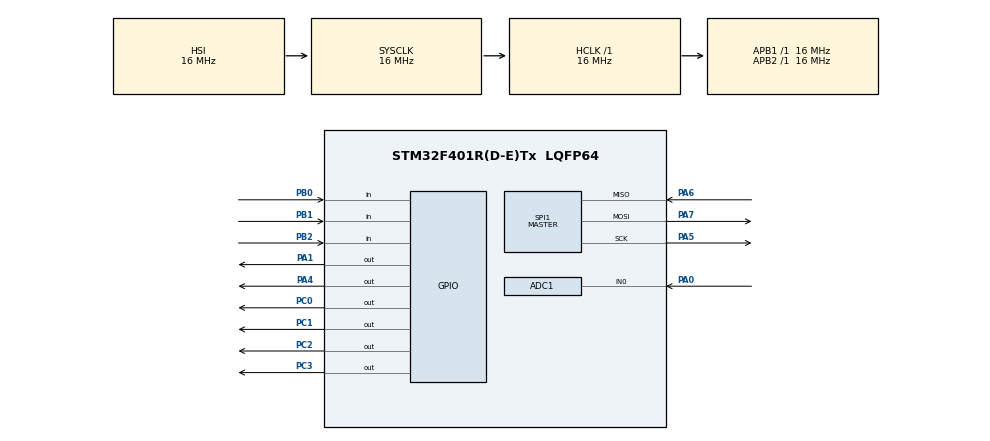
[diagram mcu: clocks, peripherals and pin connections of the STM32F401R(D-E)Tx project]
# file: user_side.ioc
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ADC1.Channel-0\#ChannelRegularConversion=ADC_CHANNEL_0
ADC1.NbrOfConversionFlag=1
ADC1.Rank-0\#ChannelRegularConversion=1
ADC1.SamplingTime-0\#ChannelRegularConversion=ADC_SAMPLETIME_3CYCLES
ADC1.master=1
Mcu.Family=STM32F4
Mcu.Name=STM32F401R(D-E)Tx
Mcu.Package=LQFP64
NVIC.PriorityGroup=NVIC_PRIORITYGROUP_4
PA0-WKUP.Signal=ADCx_IN0
PA1.Signal=GPIO_Output
PA4.Signal=GPIO_Output
PA5.Mode=Full_Duplex_Master
PA5.Signal=SPI1_SCK
PA6.Mode=Full_Duplex_Master
PA6.Signal=SPI1_MISO
PA7.Mode=Full_Duplex_Master
PA7.Signal=SPI1_MOSI
PB0.GPIO_PuPd=GPIO_PULLUP
PB0.Signal=GPIO_Input
PB1.GPIO_PuPd=GPIO_PULLUP
PB1.Signal=GPIO_Input
PB2.GPIO_PuPd=GPIO_PULLUP
PB2.Signal=GPIO_Input
PC0.Signal=GPIO_Output
PC1.Signal=GPIO_Output
PC2.Signal=GPIO_Output
PC3.Signal=GPIO_Output
ProjectManager.HeapSize=0x200
ProjectManager.StackSize=0x400
ProjectManager.TargetToolchain=MDK-ARM V5.32
RCC.AHBFreq_Value=16000000
RCC.APB1Freq_Value=16000000
RCC.APB2Freq_Value=16000000
RCC.CortexFreq_Value=16000000
RCC.HSE_VALUE=25000000
RCC.HSI_VALUE=16000000
RCC.LSE_VALUE=32768
RCC.SYSCLKFreq_VALUE=16000000
RCC.VCOOutputFreq_Value=192000000
SH.ADCx_IN0.0=ADC1_IN0,IN0
SPI1.DataSize=SPI_DATASIZE_8BIT
SPI1.Direction=SPI_DIRECTION_2LINES
SPI1.Mode=SPI_MODE_MASTER
SPI1.VirtualType=VM_MASTER
board=custom

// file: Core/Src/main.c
/* USER CODE BEGIN Header */
/**
  ******************************************************************************
  * @file           : main.c
  * @brief          : Main program body
  ******************************************************************************
  * @attention
  *
  * Copyright (c) 2023 STMicroelectronics.
  * All rights reserved.
  *
  * This software is licensed under terms that can be found in the LICENSE file
  * in the root directory of this software component.
  * If no LICENSE file comes with this software, it is provided AS-IS.
  *
  ******************************************************************************
  */
/* USER CODE END Header */
#include "main.h"

/* USER CODE BEGIN Includes */
#include "LCD.h"
#include "stdio.h"
/* USER CODE END Includes */

 ADC_HandleTypeDef hadc1;

SPI_HandleTypeDef hspi1;

void SystemClock_Config(void);
static void MX_GPIO_Init(void);
static void MX_ADC1_Init(void);
static void MX_SPI1_Init(void);

int main(void)
{

  /* MCU Configuration--------------------------------------------------------*/

  /* Reset of all peripherals, Initializes the Flash interface and the Systick. */
  HAL_Init();

  /* Configure the system clock */
  SystemClock_Config();

  /* Initialize all configured peripherals */
  MX_GPIO_Init();
  MX_ADC1_Init();
  MX_SPI1_Init();
  /* USER CODE BEGIN 2 */
  LCD_Init();
	LCD_Puts(0, 0,"99243042 - Rey");
	LCD_Puts(0, 1,"99243011 - ili");
	HAL_Delay(1200);
	LCD_Clear();

	uint8_t data = 2;
	uint8_t selected = 0;

	//HAL_GPIO_WritePin(GPIOA, GPIO_PIN_4, GPIO_PIN_RESET);
	//HAL_SPI_Transmit(&hspi1, &data, sizeof(data), HAL_MAX_DELAY);
	//HAL_GPIO_WritePin(GPIOA, GPIO_PIN_4, GPIO_PIN_SET);

  //HAL_GPIO_WritePin(GPIOA, GPIO_PIN_4, GPIO_PIN_RESET);
	//HAL_SPI_Transmit(&hspi1, &data, sizeof(data), HAL_MAX_DELAY);
	//HAL_GPIO_WritePin(GPIOA, GPIO_PIN_4, GPIO_PIN_SET);

	//HAL_GPIO_WritePin(GPIOA, GPIO_PIN_4, GPIO_PIN_RESET);
	//HAL_SPI_Transmit(&hspi1, &data, sizeof(data), HAL_MAX_DELAY);
	//HAL_GPIO_WritePin(GPIOA, GPIO_PIN_4, GPIO_PIN_SET);

	float voltage_value  = 0;
	float voltage_to_ms = 0;
	float voltage_to_Hz = 0;
	char show_ms[100];
	char show_Hz[100];
	int is_prompt_flag = 0;
	int is_prompt_flag2 = 0;
	int is_prompt_flag3 = 0;
	int row = -1;
	int col = -1;
  /* USER CODE END 2 */

  /* Infinite loop */
  /* USER CODE BEGIN WHILE */
  while (1)
  {
		LCD_Clear();
		is_prompt_flag3 = 0;
		while(is_prompt_flag == 0){

		// show the available waves to the user
		LCD_Puts(0, 0, "1Sin 2Squ 3Tri 4SinA 5Stp 6Saw");

		row = -1;
		col = -1;
		HAL_GPIO_WritePin(GPIOC, GPIO_PIN_0, GPIO_PIN_RESET);
		HAL_GPIO_WritePin(GPIOC, GPIO_PIN_1, GPIO_PIN_SET);
		HAL_GPIO_WritePin(GPIOC, GPIO_PIN_2, GPIO_PIN_SET);
		HAL_GPIO_WritePin(GPIOC, GPIO_PIN_3, GPIO_PIN_SET);

		if(HAL_GPIO_ReadPin(GPIOB, GPIO_PIN_0) == 0){
			is_prompt_flag = 1;
			row = 0;
			col = 0;
			while(HAL_GPIO_ReadPin(GPIOB, GPIO_PIN_0) == 0);
		}else if(HAL_GPIO_ReadPin(GPIOB, GPIO_PIN_1) == 0){
			is_prompt_flag = 1;
			row = 0;
			col = 1;
			while(HAL_GPIO_ReadPin(GPIOB, GPIO_PIN_1) == 0);
		}else if(HAL_GPIO_ReadPin(GPIOB, GPIO_PIN_2) == 0){
			is_prompt_flag = 1;
			row = 0;
			col = 2;
			while(HAL_GPIO_ReadPin(GPIOB, GPIO_PIN_2) == 0);
		}

		HAL_GPIO_WritePin(GPIOC, GPIO_PIN_1, GPIO_PIN_RESET);
		HAL_GPIO_WritePin(GPIOC, GPIO_PIN_0, GPIO_PIN_SET);
		HAL_GPIO_WritePin(GPIOC, GPIO_PIN_2, GPIO_PIN_SET);
		HAL_GPIO_WritePin(GPIOC, GPIO_PIN_3, GPIO_PIN_SET);

		if(HAL_GPIO_ReadPin(GPIOB, GPIO_PIN_0) == 0){
			is_prompt_flag = 1;
			row = 1;
			col = 0;
			while(HAL_GPIO_ReadPin(GPIOB, GPIO_PIN_0) == 0);
		}else if(HAL_GPIO_ReadPin(GPIOB, GPIO_PIN_1) == 0){
			is_prompt_flag = 1;
			row = 1;
			col = 1;
			while(HAL_GPIO_ReadPin(GPIOB, GPIO_PIN_1) == 0);
		}else if(HAL_GPIO_ReadPin(GPIOB, GPIO_PIN_2) == 0){
			is_prompt_flag = 1;
			row = 1;
			col = 2;
			while(HAL_GPIO_ReadPin(GPIOB, GPIO_PIN_2) == 0);
		}

		HAL_GPIO_WritePin(GPIOC, GPIO_PIN_2, GPIO_PIN_RESET);
		HAL_GPIO_WritePin(GPIOC, GPIO_PIN_1, GPIO_PIN_SET);
		HAL_GPIO_WritePin(GPIOC, GPIO_PIN_0, GPIO_PIN_SET);
		HAL_GPIO_WritePin(GPIOC, GPIO_PIN_3, GPIO_PIN_SET);

		if(HAL_GPIO_ReadPin(GPIOB, GPIO_PIN_0) == 0){
			is_prompt_flag = 1;
			row = 2;
			col = 0;
			while(HAL_GPIO_ReadPin(GPIOB, GPIO_PIN_0) == 0);
		}else if(HAL_GPIO_ReadPin(GPIOB, GPIO_PIN_1) == 0){
			is_prompt_flag = 1;
			row = 2;
			col = 1;
			while(HAL_GPIO_ReadPin(GPIOB, GPIO_PIN_1) == 0);
		}else if(HAL_GPIO_ReadPin(GPIOB, GPIO_PIN_2) == 0){
			is_prompt_flag = 1;
			row = 2;
			col = 2;
			while(HAL_GPIO_ReadPin(GPIOB, GPIO_PIN_2) == 0);
		}

		HAL_GPIO_WritePin(GPIOC, GPIO_PIN_3, GPIO_PIN_RESET);
		HAL_GPIO_WritePin(GPIOC, GPIO_PIN_1, GPIO_PIN_SET);
		HAL_GPIO_WritePin(GPIOC, GPIO_PIN_2, GPIO_PIN_SET);
		HAL_GPIO_WritePin(GPIOC, GPIO_PIN_0, GPIO_PIN_SET);

		if(HAL_GPIO_ReadPin(GPIOB, GPIO_PIN_0) == 0){
			is_prompt_flag = 1;
			row = 3;
			col = 0;
			while(HAL_GPIO_ReadPin(GPIOB, GPIO_PIN_0) == 0);
		}else if(HAL_GPIO_ReadPin(GPIOB, GPIO_PIN_1) == 0){
			is_prompt_flag = 1;
			row = 3;
			col = 1;
			while(HAL_GPIO_ReadPin(GPIOB, GPIO_PIN_1) == 0);
		}else if(HAL_GPIO_ReadPin(GPIOB, GPIO_PIN_2) == 0){
			is_prompt_flag = 1;
			row = 3;
			col = 2;
			while(HAL_GPIO_ReadPin(GPIOB, GPIO_PIN_2) == 0);
		}

		if(is_prompt_flag == 1){
				LCD_Clear();

			uint8_t data = -1;
				//TODO
			if(row == 0 && col == 0){
				data = 1;
				HAL_GPIO_WritePin(GPIOA, GPIO_PIN_4, GPIO_PIN_RESET);
				HAL_SPI_Transmit(&hspi1, &data, sizeof(data), HAL_MAX_DELAY);
				HAL_GPIO_WritePin(GPIOA, GPIO_PIN_4, GPIO_PIN_SET);

			}else if(row == 0 && col == 1){
				data = 2;
				HAL_GPIO_WritePin(GPIOA, GPIO_PIN_4, GPIO_PIN_RESET);
				HAL_SPI_Transmit(&hspi1, &data, sizeof(data), HAL_MAX_DELAY);
				HAL_GPIO_WritePin(GPIOA, GPIO_PIN_4, GPIO_PIN_SET);

			}else if(row == 0 && col == 2){
				data = 3;
				HAL_GPIO_WritePin(GPIOA, GPIO_PIN_4, GPIO_PIN_RESET);
				HAL_SPI_Transmit(&hspi1, &data, sizeof(data), HAL_MAX_DELAY);
				HAL_GPIO_WritePin(GPIOA, GPIO_PIN_4, GPIO_PIN_SET);
			}else if(row == 1 && col == 0){
				data = 4;
				HAL_GPIO_WritePin(GPIOA, GPIO_PIN_4, GPIO_PIN_RESET);
				HAL_SPI_Transmit(&hspi1, &data, sizeof(data), HAL_MAX_DELAY);
				HAL_GPIO_WritePin(GPIOA, GPIO_PIN_4, GPIO_PIN_SET);
			}else if(row == 1 && col == 1){
				data = 5;
				HAL_GPIO_WritePin(GPIOA, GPIO_PIN_4, GPIO_PIN_RESET);
				HAL_SPI_Transmit(&hspi1, &data, sizeof(data), HAL_MAX_DELAY);
				HAL_GPIO_WritePin(GPIOA, GPIO_PIN_4, GPIO_PIN_SET);
			}else if(row == 1 && col == 2){
				data = 6;
				HAL_GPIO_WritePin(GPIOA, GPIO_PIN_4, GPIO_PIN_RESET);
				HAL_SPI_Transmit(&hspi1, &data, sizeof(data), HAL_MAX_DELAY);
				HAL_GPIO_WritePin(GPIOA, GPIO_PIN_4, GPIO_PIN_SET);
		}
		}
	}
		LCD_Clear();

		while(is_prompt_flag2 == 0){

		// start ADC
		HAL_ADC_Start(&hadc1);

		// wait for converting from analog to digital value
    HAL_ADC_PollForConversion(&hadc1, HAL_MAX_DELAY);

		// create voltage value, maximum VDD is 5 v and resolution is 12 bits
		// so 2 ^ 12 = 4096 - 1 = 4095
    voltage_value = (float)(HAL_ADC_GetValue(&hadc1) * 5) / (4095);

		// convert to ms, which is 500 <= ms <= 10000
		voltage_to_ms = (voltage_value * (10000 - 500) / 5) + 500;

		sprintf(show_ms,"%.1fms",voltage_to_ms);

		LCD_Puts(0, 0, show_ms);

		row = -1;
		col = -1;
		HAL_GPIO_WritePin(GPIOC, GPIO_PIN_0, GPIO_PIN_RESET);
		HAL_GPIO_WritePin(GPIOC, GPIO_PIN_1, GPIO_PIN_SET);
		HAL_GPIO_WritePin(GPIOC, GPIO_PIN_2, GPIO_PIN_SET);
		HAL_GPIO_WritePin(GPIOC, GPIO_PIN_3, GPIO_PIN_SET);

		if(HAL_GPIO_ReadPin(GPIOB, GPIO_PIN_0) == 0){

			row = 0;
			col = 0;
			while(HAL_GPIO_ReadPin(GPIOB, GPIO_PIN_0) == 0);
		}else if(HAL_GPIO_ReadPin(GPIOB, GPIO_PIN_1) == 0){

			row = 0;
			col = 1;
			while(HAL_GPIO_ReadPin(GPIOB, GPIO_PIN_1) == 0);
		}else if(HAL_GPIO_ReadPin(GPIOB, GPIO_PIN_2) == 0){

			row = 0;
			col = 2;
			while(HAL_GPIO_ReadPin(GPIOB, GPIO_PIN_2) == 0);
		}

		HAL_GPIO_WritePin(GPIOC, GPIO_PIN_1, GPIO_PIN_RESET);
		HAL_GPIO_WritePin(GPIOC, GPIO_PIN_0, GPIO_PIN_SET);
		HAL_GPIO_WritePin(GPIOC, GPIO_PIN_2, GPIO_PIN_SET);
		HAL_GPIO_WritePin(GPIOC, GPIO_PIN_3, GPIO_PIN_SET);

		if(HAL_GPIO_ReadPin(GPIOB, GPIO_PIN_0) == 0){

			row = 1;
			col = 0;
			while(HAL_GPIO_ReadPin(GPIOB, GPIO_PIN_0) == 0);
		}else if(HAL_GPIO_ReadPin(GPIOB, GPIO_PIN_1) == 0){

			row = 1;
			col = 1;
			while(HAL_GPIO_ReadPin(GPIOB, GPIO_PIN_1) == 0);
		}else if(HAL_GPIO_ReadPin(GPIOB, GPIO_PIN_2) == 0){

			row = 1;
			col = 2;
			while(HAL_GPIO_ReadPin(GPIOB, GPIO_PIN_2) == 0);
		}

		HAL_GPIO_WritePin(GPIOC, GPIO_PIN_2, GPIO_PIN_RESET);
		HAL_GPIO_WritePin(GPIOC, GPIO_PIN_1, GPIO_PIN_SET);
		HAL_GPIO_WritePin(GPIOC, GPIO_PIN_0, GPIO_PIN_SET);
		HAL_GPIO_WritePin(GPIOC, GPIO_PIN_3, GPIO_PIN_SET);

		if(HAL_GPIO_ReadPin(GPIOB, GPIO_PIN_0) == 0){

			row = 2;
			col = 0;
			while(HAL_GPIO_ReadPin(GPIOB, GPIO_PIN_0) == 0);
		}else if(HAL_GPIO_ReadPin(GPIOB, GPIO_PIN_1) == 0){

			row = 2;
			col = 1;
			while(HAL_GPIO_ReadPin(GPIOB, GPIO_PIN_1) == 0);
		}else if(HAL_GPIO_ReadPin(GPIOB, GPIO_PIN_2) == 0){

			row = 2;
			col = 2;
			while(HAL_GPIO_ReadPin(GPIOB, GPIO_PIN_2) == 0);
		}

		HAL_GPIO_WritePin(GPIOC, GPIO_PIN_3, GPIO_PIN_RESET);
		HAL_GPIO_WritePin(GPIOC, GPIO_PIN_1, GPIO_PIN_SET);
		HAL_GPIO_WritePin(GPIOC, GPIO_PIN_2, GPIO_PIN_SET);
		HAL_GPIO_WritePin(GPIOC, GPIO_PIN_0, GPIO_PIN_SET);

		if(HAL_GPIO_ReadPin(GPIOB, GPIO_PIN_0) == 0){

			row = 3;
			col = 0;
			while(HAL_GPIO_ReadPin(GPIOB, GPIO_PIN_0) == 0);
		}else if(HAL_GPIO_ReadPin(GPIOB, GPIO_PIN_1) == 0){

			row = 3;
			col = 1;
			while(HAL_GPIO_ReadPin(GPIOB, GPIO_PIN_1) == 0);
		}else if(HAL_GPIO_ReadPin(GPIOB, GPIO_PIN_2) == 0){

			row = 3;
			col = 2;
			while(HAL_GPIO_ReadPin(GPIOB, GPIO_PIN_2) == 0);
		}

		if(row == 3 && col == 2){
			LCD_Clear();
			// TODO
			LCD_Puts(0, 0,show_ms);
			is_prompt_flag2 = 1;
			uint8_t tmp = (uint8_t) (voltage_value * 10);
			HAL_GPIO_WritePin(GPIOA, GPIO_PIN_4, GPIO_PIN_RESET);
			HAL_SPI_Transmit(&hspi1,&tmp,sizeof(tmp),HAL_MAX_DELAY);
			HAL_GPIO_WritePin(GPIOA, GPIO_PIN_4, GPIO_PIN_SET);
		}

    /* USER CODE END WHILE */

    /* USER CODE BEGIN 3 */

  }
		LCD_Clear();
		LCD_Puts(0, 0, show_ms);
		while(is_prompt_flag3 == 0){

		// start ADC
		HAL_ADC_Start(&hadc1);

		// wait for converting from analog to digital value
    HAL_ADC_PollForConversion(&hadc1, HAL_MAX_DELAY);

		// create voltage value, maximum VDD is 5 v and resolution is 12 bits
		// so 2 ^ 12 = 4096 - 1 = 4095
    voltage_value = (float)(HAL_ADC_GetValue(&hadc1) * 5) / (4095);

		// convert to Hz, which is 1 <= hz <= 1000
		voltage_to_Hz = (voltage_value * (1000 - 1) / 5) + 1;

		sprintf(show_Hz,"%.1fHz",voltage_to_Hz);

		LCD_Puts(0, 1, show_Hz);

		row = -1;
		col = -1;
		HAL_GPIO_WritePin(GPIOC, GPIO_PIN_0, GPIO_PIN_RESET);
		HAL_GPIO_WritePin(GPIOC, GPIO_PIN_1, GPIO_PIN_SET);
		HAL_GPIO_WritePin(GPIOC, GPIO_PIN_2, GPIO_PIN_SET);
		HAL_GPIO_WritePin(GPIOC, GPIO_PIN_3, GPIO_PIN_SET);

		if(HAL_GPIO_ReadPin(GPIOB, GPIO_PIN_0) == 0){
			is_prompt_flag = 1;
			row = 0;
			col = 0;
			while(HAL_GPIO_ReadPin(GPIOB, GPIO_PIN_0) == 0);
		}else if(HAL_GPIO_ReadPin(GPIOB, GPIO_PIN_1) == 0){
			is_prompt_flag = 1;
			row = 0;
			col = 1;
			while(HAL_GPIO_ReadPin(GPIOB, GPIO_PIN_1) == 0);
		}else if(HAL_GPIO_ReadPin(GPIOB, GPIO_PIN_2) == 0){
			is_prompt_flag = 1;
			row = 0;
			col = 2;
			while(HAL_GPIO_ReadPin(GPIOB, GPIO_PIN_2) == 0);
		}

		HAL_GPIO_WritePin(GPIOC, GPIO_PIN_1, GPIO_PIN_RESET);
		HAL_GPIO_WritePin(GPIOC, GPIO_PIN_0, GPIO_PIN_SET);
		HAL_GPIO_WritePin(GPIOC, GPIO_PIN_2, GPIO_PIN_SET);
		HAL_GPIO_WritePin(GPIOC, GPIO_PIN_3, GPIO_PIN_SET);

		if(HAL_GPIO_ReadPin(GPIOB, GPIO_PIN_0) == 0){
			is_prompt_flag = 1;
			row = 1;
			col = 0;
			while(HAL_GPIO_ReadPin(GPIOB, GPIO_PIN_0) == 0);
		}else if(HAL_GPIO_ReadPin(GPIOB, GPIO_PIN_1) == 0){
			is_prompt_flag = 1;
			row = 1;
			col = 1;
			while(HAL_GPIO_ReadPin(GPIOB, GPIO_PIN_1) == 0);
		}else if(HAL_GPIO_ReadPin(GPIOB, GPIO_PIN_2) == 0){
			is_prompt_flag = 1;
			row = 1;
			col = 2;
			while(HAL_GPIO_ReadPin(GPIOB, GPIO_PIN_2) == 0);
		}

		HAL_GPIO_WritePin(GPIOC, GPIO_PIN_2, GPIO_PIN_RESET);
		HAL_GPIO_WritePin(GPIOC, GPIO_PIN_1, GPIO_PIN_SET);
		HAL_GPIO_WritePin(GPIOC, GPIO_PIN_0, GPIO_PIN_SET);
		HAL_GPIO_WritePin(GPIOC, GPIO_PIN_3, GPIO_PIN_SET);

		if(HAL_GPIO_ReadPin(GPIOB, GPIO_PIN_0) == 0){
			is_prompt_flag = 1;
			row = 2;
			col = 0;
			while(HAL_GPIO_ReadPin(GPIOB, GPIO_PIN_0) == 0);
		}else if(HAL_GPIO_ReadPin(GPIOB, GPIO_PIN_1) == 0){
			is_prompt_flag = 1;
			row = 2;
			col = 1;
			while(HAL_GPIO_ReadPin(GPIOB, GPIO_PIN_1) == 0);
		}else if(HAL_GPIO_ReadPin(GPIOB, GPIO_PIN_2) == 0){
			is_prompt_flag = 1;
			row = 2;
			col = 2;
			while(HAL_GPIO_ReadPin(GPIOB, GPIO_PIN_2) == 0);
		}

		HAL_GPIO_WritePin(GPIOC, GPIO_PIN_3, GPIO_PIN_RESET);
		HAL_GPIO_WritePin(GPIOC, GPIO_PIN_1, GPIO_PIN_SET);
		HAL_GPIO_WritePin(GPIOC, GPIO_PIN_2, GPIO_PIN_SET);
		HAL_GPIO_WritePin(GPIOC, GPIO_PIN_0, GPIO_PIN_SET);

		if(HAL_GPIO_ReadPin(GPIOB, GPIO_PIN_0) == 0){
			is_prompt_flag = 1;
			row = 3;
			col = 0;
			while(HAL_GPIO_ReadPin(GPIOB, GPIO_PIN_0) == 0);
		}else if(HAL_GPIO_ReadPin(GPIOB, GPIO_PIN_1) == 0){
			is_prompt_flag = 1;
			row = 3;
			col = 1;
			while(HAL_GPIO_ReadPin(GPIOB, GPIO_PIN_1) == 0);
		}else if(HAL_GPIO_ReadPin(GPIOB, GPIO_PIN_2) == 0){
			is_prompt_flag = 1;
			row = 3;
			col = 2;
			while(HAL_GPIO_ReadPin(GPIOB, GPIO_PIN_2) == 0);
		}

			if(row == 3 && col == 2){

			LCD_Clear();
			// TODO
			LCD_Puts(0, 0, show_ms);
			LCD_Puts(0, 1,show_Hz);
			uint8_t tmp = (uint8_t) (voltage_value * 10);
			HAL_GPIO_WritePin(GPIOA, GPIO_PIN_4, GPIO_PIN_RESET);
			HAL_SPI_Transmit(&hspi1,&tmp,sizeof(tmp),HAL_MAX_DELAY);
			HAL_GPIO_WritePin(GPIOA, GPIO_PIN_4, GPIO_PIN_SET);
			tmp = 0;
			HAL_GPIO_WritePin(GPIOA, GPIO_PIN_4, GPIO_PIN_RESET);
			while(tmp != 1){

			HAL_SPI_Receive(&hspi1,&tmp,sizeof(tmp),HAL_MAX_DELAY);

			}
			HAL_GPIO_WritePin(GPIOA, GPIO_PIN_4, GPIO_PIN_SET);
			char sel[200];

			is_prompt_flag3 = 1;
			is_prompt_flag = 0;
			is_prompt_flag2 = 0;

			LCD_Clear();
				sprintf(sel,"%d",tmp);
			LCD_Puts(0, 0, sel);

			HAL_Delay(1000);

		}
	}
}
  /* USER CODE END 3 */
}

void SystemClock_Config(void)
{
  RCC_OscInitTypeDef RCC_OscInitStruct = {0};
  RCC_ClkInitTypeDef RCC_ClkInitStruct = {0};

  /** Configure the main internal regulator output voltage
  */
  __HAL_RCC_PWR_CLK_ENABLE();
  __HAL_PWR_VOLTAGESCALING_CONFIG(PWR_REGULATOR_VOLTAGE_SCALE2);

  /** Initializes the RCC Oscillators according to the specified parameters
  * in the RCC_OscInitTypeDef structure.
  */
  RCC_OscInitStruct.OscillatorType = RCC_OSCILLATORTYPE_HSI;
  RCC_OscInitStruct.HSIState = RCC_HSI_ON;
  RCC_OscInitStruct.HSICalibrationValue = RCC_HSICALIBRATION_DEFAULT;
  RCC_OscInitStruct.PLL.PLLState = RCC_PLL_NONE;
  if (HAL_RCC_OscConfig(&RCC_OscInitStruct) != HAL_OK)
  {
    Error_Handler();
  }

  /** Initializes the CPU, AHB and APB buses clocks
  */
  RCC_ClkInitStruct.ClockType = RCC_CLOCKTYPE_HCLK|RCC_CLOCKTYPE_SYSCLK
                              |RCC_CLOCKTYPE_PCLK1|RCC_CLOCKTYPE_PCLK2;
  RCC_ClkInitStruct.SYSCLKSource = RCC_SYSCLKSOURCE_HSI;
  RCC_ClkInitStruct.AHBCLKDivider = RCC_SYSCLK_DIV1;
  RCC_ClkInitStruct.APB1CLKDivider = RCC_HCLK_DIV1;
  RCC_ClkInitStruct.APB2CLKDivider = RCC_HCLK_DIV1;

  if (HAL_RCC_ClockConfig(&RCC_ClkInitStruct, FLASH_LATENCY_0) != HAL_OK)
  {
    Error_Handler();
  }
}

static void MX_ADC1_Init(void)
{

  ADC_ChannelConfTypeDef sConfig = {0};

  /** Configure the global features of the ADC (Clock, Resolution, Data Alignment and number of conversion)
  */
  hadc1.Instance = ADC1;
  hadc1.Init.ClockPrescaler = ADC_CLOCK_SYNC_PCLK_DIV2;
  hadc1.Init.Resolution = ADC_RESOLUTION_12B;
  hadc1.Init.ScanConvMode = DISABLE;
  hadc1.Init.ContinuousConvMode = DISABLE;
  hadc1.Init.DiscontinuousConvMode = DISABLE;
  hadc1.Init.ExternalTrigConvEdge = ADC_EXTERNALTRIGCONVEDGE_NONE;
  hadc1.Init.ExternalTrigConv = ADC_SOFTWARE_START;
  hadc1.Init.DataAlign = ADC_DATAALIGN_RIGHT;
  hadc1.Init.NbrOfConversion = 1;
  hadc1.Init.DMAContinuousRequests = DISABLE;
  hadc1.Init.EOCSelection = ADC_EOC_SINGLE_CONV;
  if (HAL_ADC_Init(&hadc1) != HAL_OK)
  {
    Error_Handler();
  }

  /** Configure for the selected ADC regular channel its corresponding rank in the sequencer and its sample time.
  */
  sConfig.Channel = ADC_CHANNEL_0;
  sConfig.Rank = 1;
  sConfig.SamplingTime = ADC_SAMPLETIME_3CYCLES;
  if (HAL_ADC_ConfigChannel(&hadc1, &sConfig) != HAL_OK)
  {
    Error_Handler();
  }

}

static void MX_SPI1_Init(void)
{

  /* SPI1 parameter configuration*/
  hspi1.Instance = SPI1;
  hspi1.Init.Mode = SPI_MODE_MASTER;
  hspi1.Init.Direction = SPI_DIRECTION_2LINES;
  hspi1.Init.DataSize = SPI_DATASIZE_8BIT;
  hspi1.Init.CLKPolarity = SPI_POLARITY_LOW;
  hspi1.Init.CLKPhase = SPI_PHASE_1EDGE;
  hspi1.Init.NSS = SPI_NSS_SOFT;
  hspi1.Init.BaudRatePrescaler = SPI_BAUDRATEPRESCALER_2;
  hspi1.Init.FirstBit = SPI_FIRSTBIT_MSB;
  hspi1.Init.TIMode = SPI_TIMODE_DISABLE;
  hspi1.Init.CRCCalculation = SPI_CRCCALCULATION_DISABLE;
  hspi1.Init.CRCPolynomial = 10;
  if (HAL_SPI_Init(&hspi1) != HAL_OK)
  {
    Error_Handler();
  }

}

static void MX_GPIO_Init(void)
{
  GPIO_InitTypeDef GPIO_InitStruct = {0};

  /* GPIO Ports Clock Enable */
  __HAL_RCC_GPIOC_CLK_ENABLE();
  __HAL_RCC_GPIOA_CLK_ENABLE();
  __HAL_RCC_GPIOB_CLK_ENABLE();

  /*Configure GPIO pin Output Level */
  HAL_GPIO_WritePin(GPIOC, GPIO_PIN_0|GPIO_PIN_1|GPIO_PIN_2|GPIO_PIN_3, GPIO_PIN_RESET);

  /*Configure GPIO pin Output Level */
  HAL_GPIO_WritePin(GPIOA, GPIO_PIN_1|GPIO_PIN_4, GPIO_PIN_RESET);

  /*Configure GPIO pins : PC0 PC1 PC2 PC3 */
  GPIO_InitStruct.Pin = GPIO_PIN_0|GPIO_PIN_1|GPIO_PIN_2|GPIO_PIN_3;
  GPIO_InitStruct.Mode = GPIO_MODE_OUTPUT_PP;
  GPIO_InitStruct.Pull = GPIO_NOPULL;
  GPIO_InitStruct.Speed = GPIO_SPEED_FREQ_LOW;
  HAL_GPIO_Init(GPIOC, &GPIO_InitStruct);

  /*Configure GPIO pins : PA1 PA4 */
  GPIO_InitStruct.Pin = GPIO_PIN_1|GPIO_PIN_4;
  GPIO_InitStruct.Mode = GPIO_MODE_OUTPUT_PP;
  GPIO_InitStruct.Pull = GPIO_NOPULL;
  GPIO_InitStruct.Speed = GPIO_SPEED_FREQ_LOW;
  HAL_GPIO_Init(GPIOA, &GPIO_InitStruct);

  /*Configure GPIO pins : PB0 PB1 PB2 */
  GPIO_InitStruct.Pin = GPIO_PIN_0|GPIO_PIN_1|GPIO_PIN_2;
  GPIO_InitStruct.Mode = GPIO_MODE_INPUT;
  GPIO_InitStruct.Pull = GPIO_PULLUP;
  HAL_GPIO_Init(GPIOB, &GPIO_InitStruct);

}

void Error_Handler(void)
{
  __disable_irq();
  while (1)
  {
  }
}
